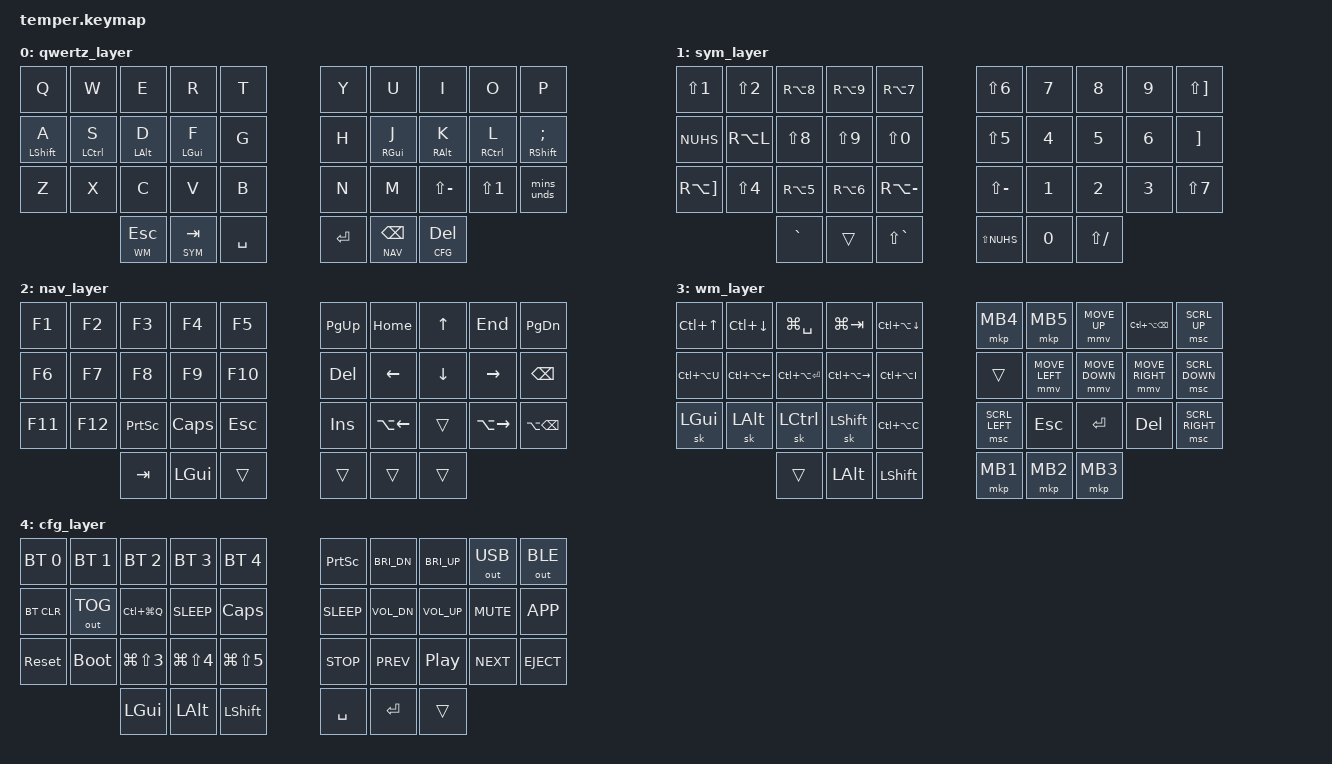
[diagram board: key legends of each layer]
/*
 * Copyright (c) 2020 The ZMK Contributors
 * SPDX-License-Identifier: MIT
 *
 * Setzt macOS-deutsches QWERTZ-Layout im Betriebssystem voraus.
 * Fenster-Shortcuts: Raycast Window Management (Standardbelegung).
 *
 * LAYER-ÜBERSICHT
 * ───────────────
 * 0 QWTZ  Buchstaben (QWERTZ) + Home-Row-Mods
 * 1 SYM   Sonderzeichen + Zahlen  (tap=TAB / hold=SYM)
 * 2 NAV   Navigation + F-Tasten   (tap=Enter / hold=NAV)
 * 3 WM    Fensterverwaltung + Maus (tap=ESC / hold=WM)
 * 4 CFG   Tastatur-Konfiguration   (tap=Bspc / hold=CFG)
 *
 * HOME-ROW-MODS (halten = Modifier)
 * ───────────────────────────────────
 *   A=Shift  S=Ctrl  D=Alt  F=Cmd  |  J=Cmd  K=Alt  L=Ctrl  Ö=Shift
 */

#include <behaviors.dtsi>
#include <dt-bindings/zmk/keys.h>
#include <dt-bindings/zmk/bt.h>
#include <dt-bindings/zmk/outputs.h>
#include <dt-bindings/zmk/mouse.h>

#define QWTZ 0
#define SYM  1
#define NAV  2
#define WM   3
#define CFG  4

#define ______ &trans

// ── Deutsches QWERTZ OS – Sonderzeichen-Aliase ──────────────────────────────
// AltGr-Kombinationen
#define DE_LCBR  RA(N8)     // {
#define DE_RCBR  RA(N9)     // }
#define DE_LBRC  RA(N5)     // [
#define DE_RBRC  RA(N6)     // ]
#define DE_BSLH  RA(MINUS)  // backslash  (AltGr+ß)
#define DE_AT    RA(L)      // @
#define DE_PIPE  RA(N7)     // |
#define DE_TILD  RA(RBKT)   // ~          (AltGr++)
// Shift-Kombinationen
#define DE_EXCL  LS(N1)     // !
#define DE_DQUO  LS(N2)     // "
#define DE_DLLR  LS(N4)     // $
#define DE_PERC  LS(N5)     // %
#define DE_AMPR  LS(N6)     // &
#define DE_SLSH  LS(N7)     // /
#define DE_LPAR  LS(N8)     // (
#define DE_RPAR  LS(N9)     // )
#define DE_EQL   LS(N0)     // =
#define DE_QUES  LS(MINUS)  // ?  (Shift+ß)
#define DE_QUOT  LS(NUHS)   // '
#define DE_STAR  LS(RBKT)   // *
// Sonstige
#define DE_PLUS  RBKT       // +
#define DE_HASH  NUHS       // #
#define DE_LT    GRAVE      // <
#define DE_GT    LS(GRAVE)  // >
#define DE_MINS  FSLH       // -  (HID FSLH = deutsches Minus)
#define DE_UNDS  LS(FSLH)   // _

/ {
    behaviors {
        mins_unds: mins_unds {
            compatible = "zmk,behavior-mod-morph";
            #binding-cells = <0>;
            bindings = <&kp DE_MINS>, <&kp DE_UNDS>;
            mods = <(MOD_LSFT)>;
        };
        // Home-Row-Mod: hold=Modifier, tap=Buchstabe
        // tapping-term 280ms + require-prior-idle reduzieren Fehltrigger beim schnellen Tippen
        hm: homerow_mods {
            compatible = "zmk,behavior-hold-tap";
            #binding-cells = <2>;
            flavor = "balanced";
            tapping-term-ms = <280>;
            quick-tap-ms = <175>;
            require-prior-idle-ms = <150>;
            bindings = <&kp>, <&kp>;
        };
        tlt: thumb_layer_tap {
            compatible = "zmk,behavior-hold-tap";
            #binding-cells = <2>;
            flavor = "balanced";
            tapping-term-ms = <300>;
            quick-tap-ms = <175>;
            bindings = <&mo>, <&kp>;
        };
    };

    keymap {
        compatible = "zmk,keymap";

        // ── Layer 0: QWERTZ ────────────────────────────────────────────────
        // Home-Row: A=⇧ · S=⌃ · D=⌥ · F=⌘  |  J=⌘ · K=⌥ · L=⌃ · Ö=⇧
        // Daumen:  [ESC/WM] [TAB/SYM] [Space]  |  [RET] [Bspc/NAV] [Del/CFG]
        qwertz_layer {
            bindings = <
// ╭─────────────┬─────────────┬─────────────┬─────────────┬─────────────╮   ╭─────────────┬─────────────┬─────────────┬─────────────┬─────────────╮
        &kp Q         &kp W         &kp E         &kp R         &kp T             &kp Y         &kp U         &kp I         &kp O         &kp P
// ├─────────────┼─────────────┼─────────────┼─────────────┼─────────────┤   ├─────────────┼─────────────┼─────────────┼─────────────┼─────────────┤
     &hm LSHFT A   &hm LCTRL S   &hm LALT D    &hm LGUI F      &kp G             &kp H       &hm RGUI J    &hm RALT K    &hm RCTRL L  &hm RSHFT SEMI
// ├─────────────┼─────────────┼─────────────┼─────────────┼─────────────┤   ├─────────────┼─────────────┼─────────────┼─────────────┼─────────────┤
        &kp Z         &kp X         &kp C         &kp V         &kp B             &kp N         &kp M       &kp DE_QUES    &kp DE_EXCL   &mins_unds
// ╰─────────────┴─────────────┼─────────────┼─────────────┼─────────────┤   ├─────────────┼─────────────┼─────────────┼─────────────┴─────────────╯
                                  &tlt WM ESC   &tlt SYM TAB  &kp SPACE          &kp RET      &tlt NAV BSPC &tlt CFG DEL
//                             ╰─────────────┴─────────────┴─────────────╯   ╰─────────────┴─────────────┴─────────────╯
            >;
        };

        // ── Layer 1: SYM – Sonderzeichen + Zahlen ──────────────────────────
        // Brackets auf Home-Row: ( ) – eine Reihe drüber: { } – darunter: [ ]
        // Daumen: < · [held] · >  |  ' · 0 · _
        sym_layer {
            bindings = <
// ╭─────────────┬─────────────┬─────────────┬─────────────┬─────────────╮   ╭─────────────┬─────────────┬─────────────┬─────────────┬─────────────╮
      &kp DE_EXCL  &kp DE_DQUO  &kp DE_LCBR  &kp DE_RCBR  &kp DE_PIPE        &kp DE_AMPR   &kp N7        &kp N8        &kp N9      &kp DE_STAR
// ├─────────────┼─────────────┼─────────────┼─────────────┼─────────────┤   ├─────────────┼─────────────┼─────────────┼─────────────┼─────────────┤
      &kp DE_HASH  &kp DE_AT    &kp DE_LPAR  &kp DE_RPAR  &kp DE_EQL         &kp DE_PERC   &kp N4        &kp N5        &kp N6      &kp DE_PLUS
// ├─────────────┼─────────────┼─────────────┼─────────────┼─────────────┤   ├─────────────┼─────────────┼─────────────┼─────────────┼─────────────┤
      &kp DE_TILD  &kp DE_DLLR  &kp DE_LBRC  &kp DE_RBRC  &kp DE_BSLH        &kp DE_QUES   &kp N1        &kp N2        &kp N3      &kp DE_SLSH
// ╰─────────────┴─────────────┼─────────────┼─────────────┼─────────────┤   ├─────────────┼─────────────┼─────────────┼─────────────┴─────────────╯
                                  &kp DE_LT     ______       &kp DE_GT          &kp DE_QUOT   &kp N0       &kp DE_UNDS
//                             ╰─────────────┴─────────────┴─────────────╯   ╰─────────────┴─────────────┴─────────────╯
            >;
        };

        // ── Layer 2: NAV – Navigation + F-Tasten ───────────────────────────
        // Links: F1-F12  |  Rechts: Pfeiltasten (Inverted-T), PgUp/Dn, Word-Nav
        // Daumen: Tab · Cmd · [⇧]  |  [Space] · [held] · [Bspc]
        nav_layer {
            bindings = <
// ╭─────────────┬─────────────┬─────────────┬─────────────┬─────────────╮   ╭─────────────┬─────────────┬─────────────┬─────────────┬─────────────╮
        &kp F1        &kp F2        &kp F3        &kp F4        &kp F5           &kp PG_UP    &kp HOME      &kp UP        &kp END      &kp PG_DN
// ├─────────────┼─────────────┼─────────────┼─────────────┼─────────────┤   ├─────────────┼─────────────┼─────────────┼─────────────┼─────────────┤
        &kp F6        &kp F7        &kp F8        &kp F9        &kp F10          &kp DEL      &kp LEFT      &kp DOWN      &kp RIGHT    &kp BSPC
// ├─────────────┼─────────────┼─────────────┼─────────────┼─────────────┤   ├─────────────┼─────────────┼─────────────┼─────────────┼─────────────┤
        &kp F11       &kp F12       &kp PSCRN     &kp CAPS      &kp ESC          &kp INS    &kp LA(LEFT)    ______      &kp LA(RIGHT) &kp LA(BSPC)
// ╰─────────────┴─────────────┼─────────────┼─────────────┼─────────────┤   ├─────────────┼─────────────┼─────────────┼─────────────┴─────────────╯
                                    &kp TAB       &kp LGUI      ______            ______        ______        ______
//                             ╰─────────────┴─────────────┴─────────────╯   ╰─────────────┴─────────────┴─────────────╯
            >;
        };

        // ── Layer 3: WM – Fensterverwaltung (Raycast) + Maus ───────────────
        // R1: MissionCtrl · AppExposé · ⌘Space · ⌘Tab · ⌃⌥↓
        // R2: ObenLinks · LinksHälfte · Maximieren · RechtsHälfte · ObenRechts
        // R3: sk⌘ · sk⌥ · sk⌃ · sk⇧ · ⌃⌥C(Zentrieren)
        // Daumen: [held] · ⌥ · ⇧  |  MB1 · MB2 · MB3
        wm_layer {
            bindings = <
// ╭─────────────┬─────────────┬─────────────┬─────────────┬─────────────╮   ╭─────────────┬─────────────┬─────────────┬─────────────┬─────────────╮
      &kp LC(UP)  &kp LC(DOWN)  &kp LG(SPACE)  &kp LG(TAB)  &kp LC(LA(DOWN))  &mkp MB4      &mkp MB5   &mmv MOVE_UP  &kp LC(LA(BSPC)) &msc SCRL_UP
// ├─────────────┼─────────────┼─────────────┼─────────────┼─────────────┤   ├─────────────┼─────────────┼─────────────┼─────────────┼─────────────┤
   &kp LC(LA(U)) &kp LC(LA(LEFT)) &kp LC(LA(RET)) &kp LC(LA(RIGHT)) &kp LC(LA(I))  ______  &mmv MOVE_LEFT &mmv MOVE_DOWN &mmv MOVE_RIGHT &msc SCRL_DOWN
// ├─────────────┼─────────────┼─────────────┼─────────────┼─────────────┤   ├─────────────┼─────────────┼─────────────┼─────────────┼─────────────┤
      &sk LGUI      &sk LALT      &sk LCTRL     &sk LSHFT   &kp LC(LA(C))     &msc SCRL_LEFT  &kp ESC      &kp RET       &kp DEL     &msc SCRL_RIGHT
// ╰─────────────┴─────────────┼─────────────┼─────────────┼─────────────┤   ├─────────────┼─────────────┼─────────────┼─────────────┴─────────────╯
                                    ______        &kp LALT     &kp LSHFT         &mkp MB1      &mkp MB2      &mkp MB3
//                             ╰─────────────┴─────────────┴─────────────╯   ╰─────────────┴─────────────┴─────────────╯
            >;
        };

        // ── Layer 4: CFG – Tastatur-Konfiguration ──────────────────────────
        // Daumen: ⌘ · ⌥ · ⇧  |  Space · Enter · [held]
        cfg_layer {
            bindings = <
// ╭─────────────┬─────────────┬─────────────┬─────────────┬─────────────╮   ╭─────────────┬─────────────┬─────────────┬─────────────┬─────────────╮
     &bt BT_SEL 0  &bt BT_SEL 1  &bt BT_SEL 2  &bt BT_SEL 3  &bt BT_SEL 4    &kp PSCRN    &kp C_BRI_DN  &kp C_BRI_UP  &out OUT_USB  &out OUT_BLE
// ├─────────────┼─────────────┼─────────────┼─────────────┼─────────────┤   ├─────────────┼─────────────┼─────────────┼─────────────┼─────────────┤
      &bt BT_CLR   &out OUT_TOG  &kp LC(LG(Q))  &kp C_SLEEP   &kp CAPS        &kp C_SLEEP  &kp C_VOL_DN  &kp C_VOL_UP  &kp K_MUTE    &kp K_APP
// ├─────────────┼─────────────┼─────────────┼─────────────┼─────────────┤   ├─────────────┼─────────────┼─────────────┼─────────────┼─────────────┤
      &sys_reset    &bootloader  &kp LG(LS(N3)) &kp LG(LS(N4)) &kp LG(LS(N5))  &kp C_STOP   &kp C_PREV    &kp C_PP     &kp C_NEXT    &kp C_EJECT
// ╰─────────────┴─────────────┼─────────────┼─────────────┼─────────────┤   ├─────────────┼─────────────┼─────────────┼─────────────┴─────────────╯
                                   &kp LGUI      &kp LALT     &kp LSHFT         &kp SPACE     &kp RET        ______
//                             ╰─────────────┴─────────────┴─────────────╯   ╰─────────────┴─────────────┴─────────────╯
            >;
        };
    };
};
